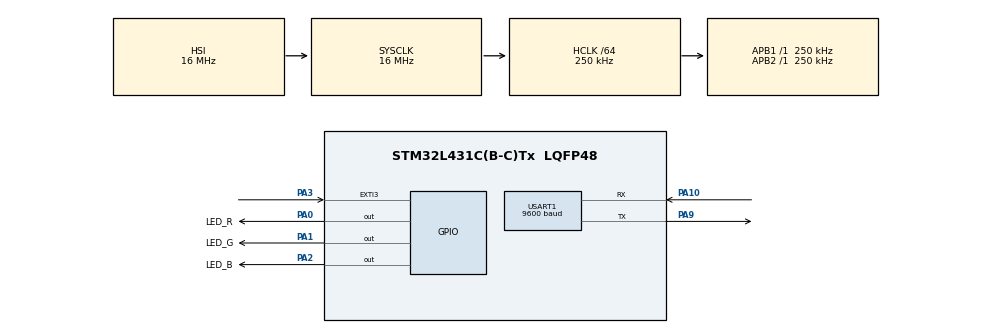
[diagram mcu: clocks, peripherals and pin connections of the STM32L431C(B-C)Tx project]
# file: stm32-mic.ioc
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Mcu.Family=STM32L4
Mcu.Name=STM32L431C(B-C)Tx
Mcu.Package=LQFP48
NVIC.EXTI3_IRQn=true\:0\:0\:false\:false\:true\:true\:true
NVIC.PriorityGroup=NVIC_PRIORITYGROUP_4
NVIC.TIM2_IRQn=true\:0\:0\:false\:false\:true\:true\:true
NVIC.TIM6_DAC_IRQn=true\:0\:0\:false\:false\:true\:true\:true
PA0.GPIO_Label=LED_R
PA0.Signal=GPIO_Output
PA1.GPIO_Label=LED_G
PA1.Signal=GPIO_Output
PA10.Mode=Asynchronous
PA10.Signal=USART1_RX
PA13\ (JTMS-SWDIO).Mode=Serial_Wire
PA13\ (JTMS-SWDIO).Signal=SYS_JTMS-SWDIO
PA14\ (JTCK-SWCLK).Mode=Serial_Wire
PA14\ (JTCK-SWCLK).Signal=SYS_JTCK-SWCLK
PA2.GPIO_Label=LED_B
PA2.Signal=GPIO_Output
PA3.GPIO_PuPd=GPIO_PULLUP
PA3.Signal=GPXTI3
PA9.Mode=Asynchronous
PA9.Signal=USART1_TX
PH0-OSC_IN\ (PH0).Mode=HSE-External-Oscillator
PH0-OSC_IN\ (PH0).Signal=RCC_OSC_IN
PH1-OSC_OUT\ (PH1).Mode=HSE-External-Oscillator
PH1-OSC_OUT\ (PH1).Signal=RCC_OSC_OUT
ProjectManager.HeapSize=0x200
ProjectManager.StackSize=0x400
ProjectManager.TargetToolchain=MDK-ARM V5.27
RCC.ADCFreq_Value=16000000
RCC.AHBCLKDivider=RCC_SYSCLK_DIV64
RCC.AHBFreq_Value=250000
RCC.APB1Freq_Value=250000
RCC.APB1TimFreq_Value=250000
RCC.APB2Freq_Value=250000
RCC.APB2TimFreq_Value=250000
RCC.CortexFreq_Value=250000
RCC.HCLKFreq_Value=250000
RCC.HSE_VALUE=12000000
RCC.HSI48_VALUE=48000000
RCC.HSICalibrationValue=12
RCC.HSI_VALUE=16000000
RCC.LSE_VALUE=32768
RCC.MSI_VALUE=4000000
RCC.PLLM=4
RCC.PLLN=16
RCC.PLLR=RCC_PLLR_DIV8
RCC.PLLSourceVirtual=RCC_PLLSOURCE_HSI
RCC.SYSCLKFreq_VALUE=16000000
RCC.SYSCLKSource=RCC_SYSCLKSOURCE_HSI
RCC.VCOOutputFreq_Value=64000000
TIM2.Period=999
TIM2.Prescaler=249
TIM6.AutoReloadPreload=TIM_AUTORELOAD_PRELOAD_ENABLE
TIM6.Period=999
TIM6.Prescaler=249
USART1.BaudRate=9600
USART1.VirtualMode-Asynchronous=VM_ASYNC
VP_TIM2_VS_ClockSourceINT.Mode=Internal
VP_TIM6_VS_ClockSourceINT.Mode=Enable_Timer
board=custom

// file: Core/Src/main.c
/* USER CODE BEGIN Header */
/**
  ******************************************************************************
  * @file           : main.c
  * @brief          : Main program body
  ******************************************************************************
  * @attention
  *
  * <h2><center>&copy; Copyright (c) 2021 STMicroelectronics.
  * All rights reserved.</center></h2>
  *
  * This software component is licensed by ST under BSD 3-Clause license,
  * the "License"; You may not use this file except in compliance with the
  * License. You may obtain a copy of the License at:
  *                        opensource.org/licenses/BSD-3-Clause
  *
  ******************************************************************************
  */
/* USER CODE END Header */
#include "main.h"
#include "tim.h"
#include "usart.h"
#include "gpio.h"

void SystemClock_Config(void);

/* USER CODE BEGIN 0 */
void HAL_GPIO_EXTI_Callback(uint16_t GPIO_Pin)
{
    Toggle_LED_R();
    printf("\r\nEXIT!\r\n");
}

void HAL_TIM_PeriodElapsedCallback(TIM_HandleTypeDef *htim)
{
    static int tim6_cnt = 0;
    if(htim->Instance == TIM6)
    {
        // 用示波器测试过就是精准的1S
        Toggle_LED_R();
        printf("tim6_cnt = %d\r\n", ++tim6_cnt);
    }
    else if(htim->Instance == TIM2)
    {
        Toggle_LED_G();
        // printf("tim2_cnt = %d\r\n", ++tim6_cnt);
    }

}
/* USER CODE END 0 */

int main(void)
{

  /* MCU Configuration--------------------------------------------------------*/

  /* Reset of all peripherals, Initializes the Flash interface and the Systick. */
  HAL_Init();

  /* Configure the system clock */
  SystemClock_Config();

  /* Initialize all configured peripherals */
  MX_GPIO_Init();
  MX_USART1_UART_Init();
  MX_TIM6_Init();
  MX_TIM2_Init();
  /* USER CODE BEGIN 2 */
  HAL_RCC_MCOConfig(RCC_MCO1, RCC_MCO1SOURCE_SYSCLK, RCC_MCODIV_1);
  // HAL_TIM_Base_Start(&htim6);
  HAL_TIM_Base_Start_IT(&htim6);
  // HAL_TIM_Base_Start_IT(&htim2);
  /* USER CODE END 2 */

  /* Infinite loop */
  while (1)
  {

    /* USER CODE BEGIN 3 */
    // Toggle_LED_G();
    printf("The sysclk freq = %dHZ\r\n", HAL_RCC_GetSysClockFreq());
    printf("The hclk(CPU GPIO) freq = %dHZ\r\n", HAL_RCC_GetHCLKFreq());
    printf("The pclk1 freq = %dHZ\r\n", HAL_RCC_GetPCLK1Freq());
    printf("The pclk2(USART1) freq = %dHZ\r\n", HAL_RCC_GetPCLK2Freq());
    HAL_Delay(500);
  }
  /* USER CODE END 3 */
}

void SystemClock_Config(void)
{
  RCC_OscInitTypeDef RCC_OscInitStruct = {0};
  RCC_ClkInitTypeDef RCC_ClkInitStruct = {0};
  RCC_PeriphCLKInitTypeDef PeriphClkInit = {0};

  /** Initializes the RCC Oscillators according to the specified parameters
  * in the RCC_OscInitTypeDef structure.
  */
  RCC_OscInitStruct.OscillatorType = RCC_OSCILLATORTYPE_HSI;
  RCC_OscInitStruct.HSIState = RCC_HSI_ON;
  RCC_OscInitStruct.HSICalibrationValue = 12;
  RCC_OscInitStruct.PLL.PLLState = RCC_PLL_NONE;
  if (HAL_RCC_OscConfig(&RCC_OscInitStruct) != HAL_OK)
  {
    Error_Handler();
  }
  /** Initializes the CPU, AHB and APB buses clocks
  */
  RCC_ClkInitStruct.ClockType = RCC_CLOCKTYPE_HCLK|RCC_CLOCKTYPE_SYSCLK
                              |RCC_CLOCKTYPE_PCLK1|RCC_CLOCKTYPE_PCLK2;
  RCC_ClkInitStruct.SYSCLKSource = RCC_SYSCLKSOURCE_HSI;
  RCC_ClkInitStruct.AHBCLKDivider = RCC_SYSCLK_DIV64;
  RCC_ClkInitStruct.APB1CLKDivider = RCC_HCLK_DIV1;
  RCC_ClkInitStruct.APB2CLKDivider = RCC_HCLK_DIV1;

  if (HAL_RCC_ClockConfig(&RCC_ClkInitStruct, FLASH_LATENCY_0) != HAL_OK)
  {
    Error_Handler();
  }
  PeriphClkInit.PeriphClockSelection = RCC_PERIPHCLK_USART1;
  PeriphClkInit.Usart1ClockSelection = RCC_USART1CLKSOURCE_PCLK2;
  if (HAL_RCCEx_PeriphCLKConfig(&PeriphClkInit) != HAL_OK)
  {
    Error_Handler();
  }
  /** Configure the main internal regulator output voltage
  */
  if (HAL_PWREx_ControlVoltageScaling(PWR_REGULATOR_VOLTAGE_SCALE1) != HAL_OK)
  {
    Error_Handler();
  }
}

void Error_Handler(void)
{
  __disable_irq();
  while (1)
  {
  }
}

/************************ (C) COPYRIGHT STMicroelectronics *****END OF FILE****/
